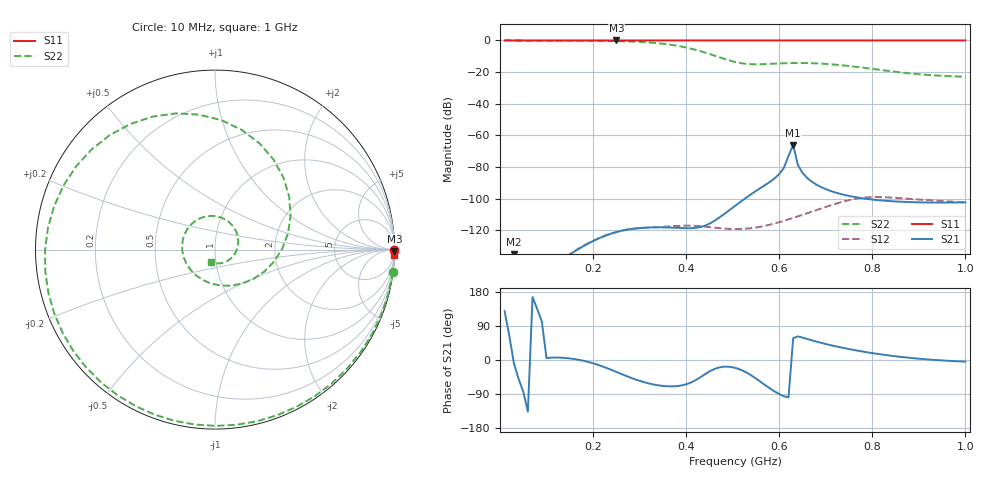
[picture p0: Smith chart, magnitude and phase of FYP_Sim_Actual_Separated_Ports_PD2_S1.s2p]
! Touchstone file from project FYP_Sim_Actual_Separated_Ports
! Exported from HFSS 13.0.2
# GHZ S MA R 50.000000
! Terminal data exported
! Port[1] = PD2_Incision_Port_T1
! Port[2] = Radiating_Plate_T1
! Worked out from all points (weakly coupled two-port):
!   100 points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, 10 MHz to 1 GHz, reference 50 ohm
!   highest |S21| = -66.04 dB at 630 MHz (marker M1); lowest = -193.5 dB at 30 MHz (marker M2)
!   lowest |S11| = 0.0 dB at 250 MHz (marker M3)
!   |S11| at or under -10 dB: nowhere
!   |S22| runs from -22.9 to 0.0 dB; largest |S21 - S12| = 0.0005
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0.01  1 -0.0  7.943e-11 128.8  8.197e-11 129.8  0.9984 -7.1
0.03  1 -0.1  2.114e-10 -8.9  1.783e-10 4.0  0.9949 -21.2
0.07  1 -0.1  9.808e-09 165.9  1.039e-08 167.4  0.9893 -48.9
0.11  1 -0.2  4.898e-08 6.2  5.107e-08 4.4  0.9845 -76.2
0.14  1 -0.3  1.319e-07 5.4  1.382e-07 2.4  0.9812 -96.5
0.18  1 -0.3  3.227e-07 -2.2  3.272e-07 -3.7  0.9765 -123.6
0.22  1 -0.4  6.236e-07 -16.8  6.245e-07 -16.5  0.9675 -151.2
0.25  1 -0.5  8.823e-07 -31.4  8.85e-07 -30.9  0.9536 -172.6
0.29  1 -0.5  1.142e-06 -50.8  1.135e-06 -51.2  0.9164 157.1
0.34  1 -0.6  1.244e-06 -66.8  1.27e-06 -66.3  0.8184 115.1
0.38  1 -0.7  1.201e-06 -68.9  1.376e-06 -65.6  0.6831 77.3
0.42  1 -0.8  1.193e-06 -53.5  1.387e-06 -51.5  0.5071 35.4
0.47  1 -0.9  2.46e-06 -19.9  1.179e-06 -28.4  0.2994 -24.5
0.51  1 -0.9  6.7e-06 -22.4  1.1e-06 -8.7  0.202 -81.9
0.56  1 -1.0  2.187e-05 -57.7  1.3e-06 18.4  0.1776 -153.8
0.61  1 -1.1  9.443e-05 -95.7  2.005e-06 39.1  0.1901 152.5
0.63  1 -1.2  0.000499 57.4  2.48e-06 44.3  0.1931 134.6
0.64  1 -1.2  0.0001176 62.3  2.77e-06 46.2  0.1937 126.2
0.67  1 -1.2  3.447e-05 52.0  3.897e-06 49.1  0.1908 101.9
0.75  1 -1.4  1.224e-05 28.8  9.03e-06 34.2  0.1559 41.7
0.84  1 -1.6  8.36e-06 11.3  1.086e-05 -0.9  0.1065 -20.8
1  1 -1.8  7.654e-06 -4.3  7.654e-06 -4.3  0.0714 -108.4
